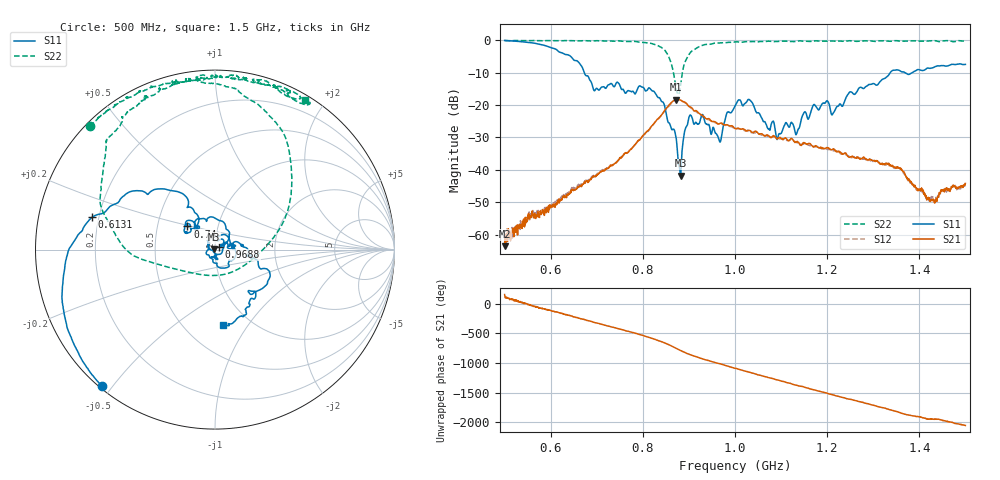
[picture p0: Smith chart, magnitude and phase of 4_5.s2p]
!Agilent Technologies,E8364B,US42250235,A.06.04.32
!Agilent E8364B: A.06.04.32
!Date: Friday, January 15, 2021 16:18:21
!Correction: S11(Full 2 Port(1,2)) S21(Full 2 Port(1,2)) S12(Full 2 Port(1,2)) S22(Full 2 Port(1,2))
!S2P File: Measurements: S11, S21, S12, S22:
# Hz S  dB  R 50
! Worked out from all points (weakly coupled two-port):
!   1601 points, 500 MHz to 1.5 GHz, reference 50 ohm
!   highest |S21| = -18.32 dB at 871.9 MHz (marker M1); lowest = -63.5 dB at 500 MHz (marker M2)
!   lowest |S11| = -41.8 dB at 881.9 MHz (marker M3), VSWR 1.02, Z = 49.2 + j0.179 ohm
!   |S11| at or under -10 dB: 672.8 MHz to 1.337 GHz (664.2 MHz wide, 66.1 % of centre); 1.368 GHz to 1.386 GHz (17.27 MHz wide, 1.25 % of centre)
!   |S22| runs from -16.8 to -0.1 dB; largest |S21 - S12| = 0.0089
!   S11 on the Smith chart (normalised r, x): 500 MHz: 0.01, -0.47; 613.1 MHz: 0.17, +0.13; 740 MHz: 0.71, +0.19; 968.8 MHz: 1.05, +0.03; 1.5 GHz: 0.75, -0.77
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5e8  -0.12 -129.5  -63.51 153.9  -60.35 124.3  -0.15 135.4
5.65625e8  -0.97 -162.5  -53.47 -45.4  -53.93 -48.7  -0.17 128.4
6.13125e8  -2.99 165.3  -50.73 -137.4  -50.11 -144.0  -0.18 122.9
6.66875e8  -7.99 124.8  -45.18 103.5  -44.51 97.8  -0.21 115.3
6.9625e8  -15.47 135.6  -42.03 40.3  -41.90 36.2  -0.24 111.1
7.4e8  -13.96 139.9  -37.96 -47.5  -37.77 -53.8  -0.35 103.8
8.3375e8  -17.74 60.6  -24.13 96.9  -24.26 92.2  -1.78 69.0
8.56875e8  -25.52 22.2  -20.05 27.1  -20.32 22.9  -5.40 37.7
8.71875e8  -29.90 -57.1  -18.32 -31.2  -18.55 -34.6  -14.53 -27.0
8.81875e8  -41.77 167.1  -18.52 -69.7  -18.69 -73.2  -13.92 -142.3
8.9125e8  -27.77 146.7  -19.13 -103.2  -19.31 -107.0  -6.87 -175.6
9.03125e8  -23.09 119.7  -20.58 -140.3  -20.81 -145.0  -3.85 162.8
9.6875e8  -31.13 34.6  -25.61 63.8  -25.88 59.7  -0.85 122.6
1e9  -20.36 14.6  -27.26 -8.6  -27.35 -11.7  -0.53 114.3
1.033125e9  -18.58 -59.5  -27.95 -81.9  -28.42 -84.2  -0.47 109.0
1.09375e9  -29.54 -75.7  -30.29 153.2  -30.34 146.9  -0.41 99.0
1.135e9  -28.34 168.5  -31.21 62.1  -31.68 56.9  -0.35 92.6
1.166875e9  -21.04 66.8  -32.51 -5.8  -32.61 -7.0  -0.37 89.9
1.213125e9  -22.47 13.1  -33.57 -97.7  -34.12 -102.4  -0.29 88.3
1.33375e9  -10.72 -21.1  -37.96 17.2  -38.56 14.9  -0.37 75.2
1.42875e9  -8.58 -62.9  -49.47 -145.9  -48.63 -140.7  -0.18 66.3
1.5e9  -7.49 -83.9  -44.16 107.2  -44.88 108.4  -0.25 59.1
